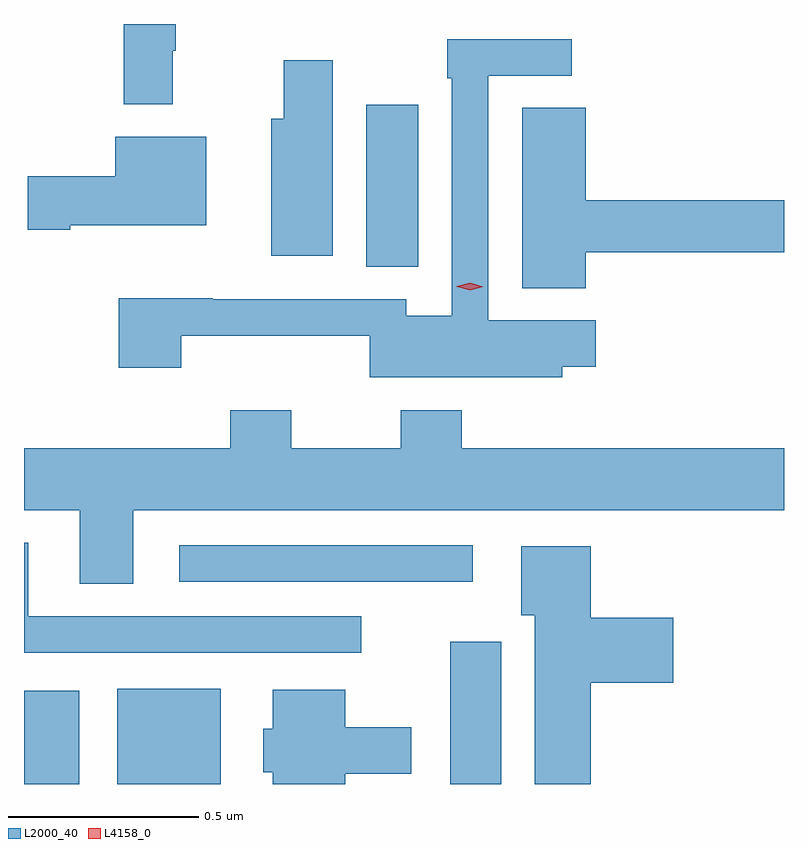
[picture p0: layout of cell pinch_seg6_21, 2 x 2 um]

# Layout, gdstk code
import gdstk
lib = gdstk.Library(unit=1e-6, precision=1e-09)
def R(c, l, rs):  # rectangles x0, y0, x1, y1
    for r in rs: c.add(gdstk.rectangle(r[:2], r[2:], *l))
def P(c, l, *ps):  # polygons
    for p in ps: c.add(gdstk.Polygon(p, *l))
L2000_40 = (2000, 40)
L4158_0 = (4158, 0)

pinch_seg6_21 = lib.new_cell('pinch_seg6_21')
R(pinch_seg6_21, L2000_40, [(960.098,962.6,960.244,962.845), (960.344,962.6,960.616,962.851), (961.22,962.6,961.354,962.974), (960.507,963.132,961.279,963.228), (960.998,963.961,961.135,964.387)])
P(pinch_seg6_21, L2000_40, [(960.49,964.529),(960.497,964.529),(960.497,964.6),(960.361,964.6),(960.361,964.389),(960.49,964.389)],
  [(961.515,963.698),(961.603,963.698),(961.603,963.82),(961.32,963.82),(961.32,964.464),(961.54,964.464),(961.54,964.56),(961.212,964.56),(961.212,964.457),(961.224,964.457),(961.224,963.832),(961.104,963.832),(961.104,963.876),(960.595,963.876),(960.595,963.878),(960.347,963.878),(960.347,963.696),(960.512,963.696),(960.512,963.779),(961.008,963.779),(961.008,963.671),(961.515,963.671)],
  [(960.91,964.504),(960.781,964.504),(960.781,964.351),(960.749,964.351),(960.749,963.99),(960.91,963.99)],
  [(961.576,964),(962.098,964),(962.098,964.136),(961.576,964.136),(961.576,964.379),(961.409,964.379),(961.409,963.905),(961.576,963.905)],
  [(960.22,964.07),(960.577,964.07),(960.577,964.303),(960.338,964.303),(960.338,964.2),(960.108,964.2),(960.108,964.058),(960.22,964.058)],
  [(960.385,963.32),(962.098,963.32),(962.098,963.484),(961.25,963.484),(961.25,963.583),(961.09,963.583),(961.09,963.484),(960.801,963.484),(960.801,963.583),(960.641,963.583),(960.641,963.484),(960.098,963.484),(960.098,963.32),(960.245,963.32),(960.245,963.127),(960.385,963.127)],
  [(960.985,963.042),(960.109,963.042),(960.109,963.235),(960.098,963.235),(960.098,962.946),(960.985,962.946)],
  [(961.589,962.867),(961.807,962.867),(961.807,963.037),(961.589,963.037),(961.589,963.226),(961.406,963.226),(961.406,963.044),(961.442,963.044),(961.442,962.6),(961.589,962.6)],
  [(960.943,962.627),(961.117,962.627),(961.117,962.749),(960.943,962.749),(960.943,962.848),(960.752,962.848),(960.752,962.745),(960.728,962.745),(960.728,962.631),(960.752,962.631),(960.752,962.6),(960.943,962.6)])
P(pinch_seg6_21, L4158_0, [(961.272,963.899),(961.237,963.909),(961.237,963.91),(961.237,963.91),(961.272,963.919),(961.307,963.909),(961.307,963.909),(961.307,963.908)])

lib.write_gds('pinch_seg6_21.gds')
